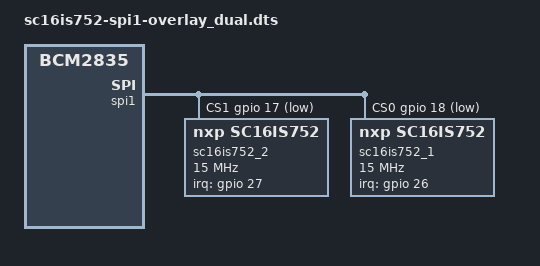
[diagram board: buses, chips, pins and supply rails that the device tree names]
/dts-v1/;
/plugin/;

/ {
	compatible = "brcm,bcm2835";


  fragment@0 {
		target = <&gpio>;
		__overlay__ {
			spi1_pins: spi1_pins {
				brcm,pins = <19 20 21>;
				brcm,function = <3>; /* alt4 */
			};

			spi1_cs_pins: spi1_cs_pins {
				brcm,pins = <18 17>;
				brcm,function = <1>; /* output */
			};
		};
	};


	fragment@1 {
		target = <&spi1>;
		__overlay__ {
			#address-cells = <1>;
			#size-cells = <0>;
      pinctrl-names = "default";
      pinctrl-0 = <&spi1_pins &spi1_cs_pins>;
      cs-gpios = <&gpio 18 1>, <&gpio 17 1>;
			status = "okay";

      			sc16is752_2: sc16is752@1 {
      				compatible = "nxp,sc16is752";
      				reg = <1>; /* CE0 */
      				clocks = <&sc16is752_clk>;
      				interrupt-parent = <&gpio>;
      				interrupts = <27 2>; /* IRQ_TYPE_EDGE_FALLING */
      				gpio-controller;
      				#gpio-cells = <2>;
      				spi-max-frequency = <15000000>;
      			};

      			sc16is752_1: sc16is752@0 {
      				compatible = "nxp,sc16is752";
      				reg = <0>; /* CE0 */
      				clocks = <&sc16is752_clk>;
      				interrupt-parent = <&gpio>;
      				interrupts = <26 2>; /* IRQ_TYPE_EDGE_FALLING */
      				gpio-controller;
      				#gpio-cells = <2>;
      				spi-max-frequency = <15000000>;
      			};
		};
	};

	fragment@2 {
		target = <&spidev1>;
		__overlay__ {
			status = "disabled";
		};
	};

	fragment@3 {
		target-path = "/";
		__overlay__ {
			sc16is752_clk: sc16is752_spi1_0_clk {
				compatible = "fixed-clock";
				#clock-cells = <0>;
				clock-frequency = <14745600>;
			};
		};
	};


};
